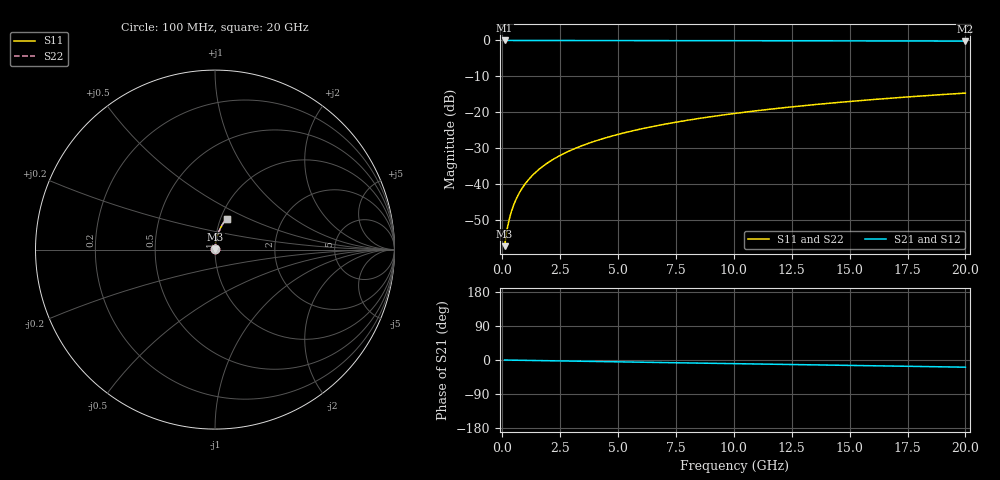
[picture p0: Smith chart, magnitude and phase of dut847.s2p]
! Touchstone file exported from HFSS 2026.1.0
!  File:  C:/ffzhzh/LocalFiles/Ansys_Project_Files/temp_train_BSMRDL_847_1783170489_22436.aedt
!  Generated:  09:09:23 PM Jul  4, 2026
!  Design:  BSMRDL
!  Project:  temp_train_BSMRDL_847_1783170489_22436
! Variables:
!  h_bsmrdl = 5.3um
!  h_ox = 20um
!  h_rdl = 5um
!  h_sub = 80um
!  h_tmrdl = 5um
!  h_tsv = 80um
!  h_via = 3um
!  l_bsmrdl = 242.68um
!  l_sub = 642.68um
!  l_tmrdl = 200um
!  m_sub = 200um
!  pitch = 53.92um
!  r_tsv = 6um
!  s_tmrdl = 10um
!  w_bsmrdl = 24.87um
!  w_sub = 500um
!  w_tmrdl = 12um
!  x_tsv_center1 = 206um
!  x_tsv_center2 = 473.55um
!  x_tsv_center3 = 685.55um
!  x_tsv_center4 = 953.1um
!  x_tsv_center5 = 1165.1um
!  x_tsv_center6 = 1432.65um
# GHz S MA R 50.000000
! Terminal data exported
! Port[1] = BSM_RDL1_1_T1
! Port[2] = BSM_RDL1_1_T2
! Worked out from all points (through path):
!   200 points, 100 MHz to 20 GHz, reference 50 ohm
!   highest |S21| = -0.01 dB at 100 MHz (marker M1); lowest = -0.2 dB at 20 GHz (marker M2)
!   group delay of S21, straight-line fit = 2.63 ps
!   lowest |S11| = -57.4 dB at 100 MHz (marker M3), VSWR 1.00, Z = 50.1 + j0.108 ohm
!   |S11| at or under -10 dB: start of sweep to end of sweep
!   |S22| runs from -57.4 to -14.7 dB; largest |S21 - S12| = 5.1e-15
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0.1  0.001351 52.9  0.9992 -0.1  0.9992 -0.1  0.001351 52.9
! Gamma 0 0 0 0
! Port Impedance 50 0 50 0
0.2  0.002261 67.2  0.9991 -0.2  0.9991 -0.2  0.002261 67.2
0.3  0.003209 73.4  0.9991 -0.3  0.9991 -0.3  0.003209 73.4
0.4  0.004177 76.9  0.999 -0.4  0.999 -0.4  0.004177 76.9
0.5  0.005157 79.1  0.999 -0.5  0.999 -0.5  0.005157 79.1
0.7  0.007134 81.5  0.999 -0.7  0.999 -0.7  0.007134 81.5
0.8  0.008127 82.3  0.9989 -0.8  0.9989 -0.8  0.008127 82.3
1  0.01011 83.2  0.9989 -1.0  0.9989 -1.0  0.01011 83.2
1.2  0.0121 83.8  0.9988 -1.2  0.9988 -1.2  0.0121 83.8
1.4  0.01409 84.1  0.9987 -1.4  0.9987 -1.4  0.01409 84.1
1.7  0.01706 84.3  0.9986 -1.7  0.9986 -1.7  0.01706 84.3
2  0.02001 84.3  0.9985 -2.0  0.9985 -2.0  0.02001 84.3
2.7  0.02686 84.1  0.9981 -2.7  0.9981 -2.7  0.02686 84.1
3.5  0.03459 83.6  0.9976 -3.4  0.9976 -3.4  0.03459 83.6
4.2  0.0413 83.1  0.9971 -4.1  0.9971 -4.1  0.0413 83.1
5  0.04891 82.5  0.9966 -4.9  0.9966 -4.9  0.04891 82.5
6.8  0.06586 81.1  0.9951 -6.6  0.9951 -6.6  0.06586 81.1
8.3  0.07986 79.8  0.9938 -8.0  0.9938 -8.0  0.07986 79.8
10.1  0.0965 78.3  0.992 -9.7  0.992 -9.7  0.09649 78.3
13.4  0.1265 75.4  0.9881 -12.8  0.9881 -12.8  0.1265 75.4
16.7  0.1558 72.5  0.9835 -15.9  0.9835 -15.9  0.1558 72.5
20  0.1844 69.6  0.9782 -19.0  0.9782 -19.0  0.1844 69.6
